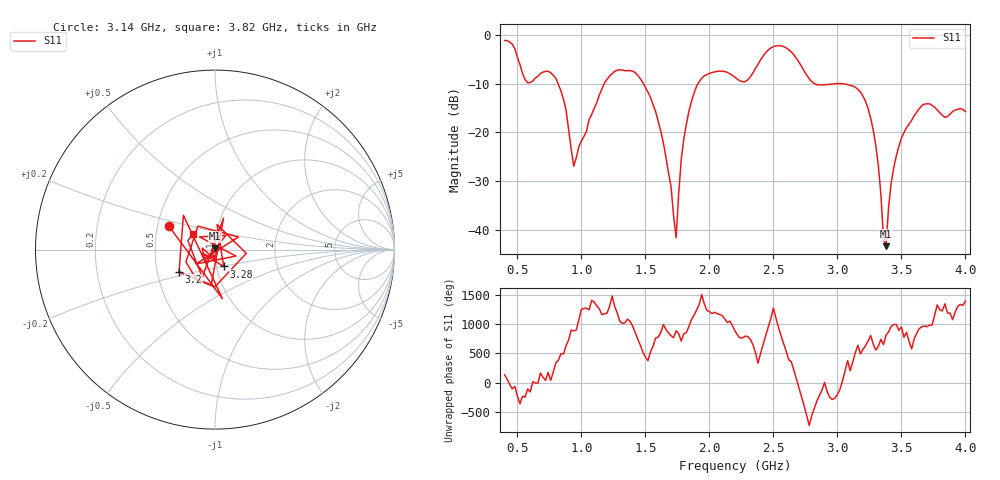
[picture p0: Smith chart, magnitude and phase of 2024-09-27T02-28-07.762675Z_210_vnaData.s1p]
!Created with skrf (http://scikit-rf.org).
# Hz S RI R 50.0
!freq ReS11 ImS11
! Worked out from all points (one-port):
!   181 points, 400 MHz to 4 GHz, reference 50 ohm
!   lowest |S11| = -43.3 dB at 3.38 GHz (marker M1), VSWR 1.01, Z = 50 + j0.685 ohm
!   |S11| at or under -10 dB: 817.8 MHz to 1.178 GHz (360.7 MHz wide, 36.1 % of centre); 1.484 GHz to 1.911 GHz (427.5 MHz wide, 25.2 % of centre); 3.028 GHz to end of sweep (the widest 3 of 4)
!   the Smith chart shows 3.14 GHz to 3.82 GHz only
!   S11 on the Smith chart (normalised r, x): 3.14 GHz: 0.57, +0.17; 3.2 GHz: 0.65, -0.17; 3.28 GHz: 1.08, -0.21; 3.82 GHz: 0.77, +0.14
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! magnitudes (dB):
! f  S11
! 400 MHz  -1.2
! 580 MHz  -9.8
! 740 MHz  -7.5
! 860 MHz  -13.2
! 940 MHz  -26.9
! 1.18 GHz  -9.9
! 1.3 GHz  -7.2
! 1.44 GHz  -8.3
! 1.58 GHz  -15.7
! 1.7 GHz  -31.0
! 1.74 GHz  -41.5
! 1.76 GHz  -32.6
! 1.8 GHz  -21.4
! 1.9 GHz  -10.5
! 2.2 GHz  -8.7
! 2.5 GHz  -2.4
! 2.66 GHz  -4.1
! 2.82 GHz  -10.0
! 3.1 GHz  -10.4
! 3.14 GHz  -10.7
! 3.2 GHz  -12.5
! 3.28 GHz  -19.5
! 3.38 GHz  -43.3
! 3.44 GHz  -27.3
! 3.56 GHz  -18.3
! 3.68 GHz  -14.2
! 3.82 GHz  -16.5
! 4 GHz  -15.7
